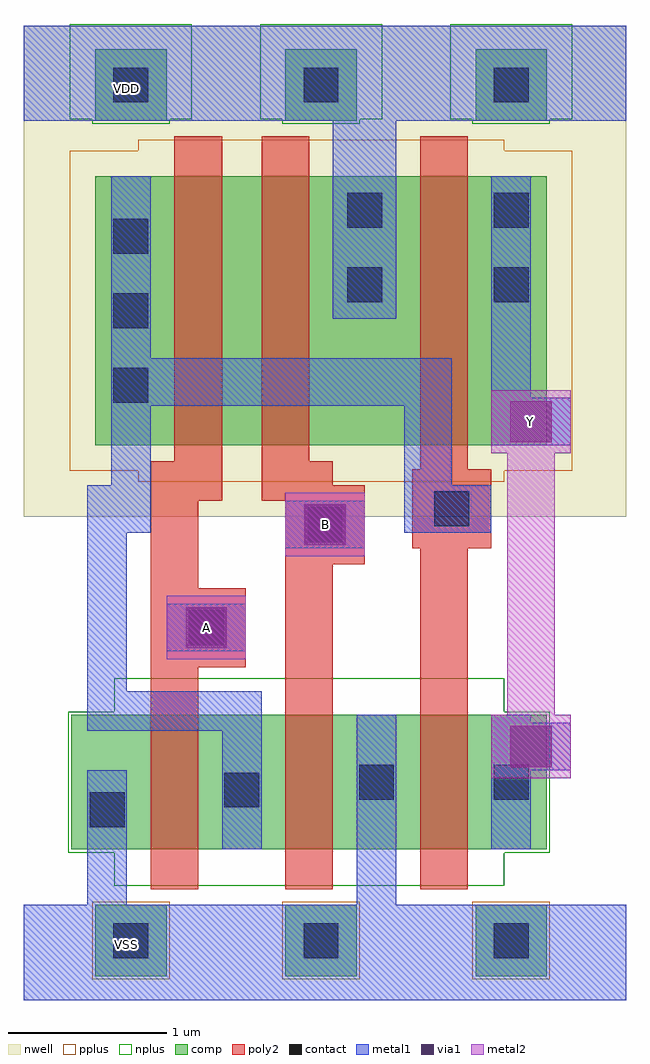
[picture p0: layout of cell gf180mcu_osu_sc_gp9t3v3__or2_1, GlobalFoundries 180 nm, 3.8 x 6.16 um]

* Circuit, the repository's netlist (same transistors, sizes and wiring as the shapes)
* Copyright 2022 Google LLC
*
* Licensed under the Apache License, Version 2.0 (the "License");
* you may not use this file except in compliance with the License.
* You may obtain a copy of the License at
*
*      http://www.apache.org/licenses/LICENSE-2.0
*
* Unless required by applicable law or agreed to in writing, software
* distributed under the License is distributed on an "AS IS" BASIS,
* WITHOUT WARRANTIES OR CONDITIONS OF ANY KIND, either express or implied.
* See the License for the specific language governing permissions and
* limitations under the License.

.inc "/import/yukari1/lrburle/OSU_180/char/techfiles/design.hspice"
.lib "/import/yukari1/lrburle/OSU_180/char/techfiles/sm141064.hspice" typical

.GLOBAL VDD
.GLOBAL VSS

.option scale=0.05u

.subckt gf180mcu_osu_sc_gp9t3v3__or2_1 B A Y
X0 VDD B a_25_70 VDD pmos_3p3 w=34 l=6
X1 Y a_9_70 VSS VSS nmos_3p3 w=17 l=6
X2 a_9_70 A VSS VSS nmos_3p3 w=17 l=6
X3 a_25_70 A a_9_70 VDD pmos_3p3 w=34 l=6
X4 Y a_9_70 VDD VDD pmos_3p3 w=34 l=6
X5 VSS B a_9_70 VSS nmos_3p3 w=17 l=6
.ends

** hspice subcircuit dictionary

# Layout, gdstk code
import gdstk
lib = gdstk.Library(unit=1e-6, precision=1e-09)
def R(c, l, rs):  # rectangles x0, y0, x1, y1
    for r in rs: c.add(gdstk.rectangle(r[:2], r[2:], *l))
def A(c, l, x, y, w, h, nx, ny, dx, dy):  # array of equal rectangles
    R(c, l, [(x+i*dx, y+j*dy, x+i*dx+w, y+j*dy+h) for i in range(nx) for j in range(ny)])
nwell = (21, 0)
comp = (22, 0)
poly2 = (30, 0)
pplus = (31, 0)
nplus = (32, 0)
contact = (33, 0)
metal1 = (34, 0)
via1 = (35, 0)
metal2 = (36, 0)

gf180mcu_osu_sc_gp9t3v3_ = lib.new_cell('gf180mcu_osu_sc_gp9t3v3__or2_1')
R(gf180mcu_osu_sc_gp9t3v3_, nwell, [(0,3.05,3.8,6.15)])
A(gf180mcu_osu_sc_gp9t3v3_, comp, 0.45, 0.15, 0.45, 0.45, 3, 2, 1.2, 5.4)
R(gf180mcu_osu_sc_gp9t3v3_, comp, [(0.3,0.95,3.3,1.8), (0.45,3.5,3.3,5.2)])
R(gf180mcu_osu_sc_gp9t3v3_, poly2, [(0.8,0.7,1.1,2.1), (1.65,0.7,1.95,2.75), (2.5,0.7,2.8,2.85), (0.8,2.1,1.4,2.6), (0.8,2.6,1.1,3.15), (1.65,2.75,2.15,3.15), (2.45,2.85,2.95,3.35), (0.8,3.15,1.25,3.4), (1.5,3.15,2.15,3.25), (1.5,3.25,1.95,3.4), (2.5,3.35,2.8,5.45), (0.95,3.4,1.25,5.45), (1.5,3.4,1.8,5.45)])
A(gf180mcu_osu_sc_gp9t3v3_, pplus, 0.43, 0.13, 0.49, 0.49, 3, 1, 1.2, 0)
R(gf180mcu_osu_sc_gp9t3v3_, pplus, [(0.72,3.27,3.03,3.34), (0.29,3.34,3.46,5.36), (0.72,5.36,3.03,5.43)])
A(gf180mcu_osu_sc_gp9t3v3_, nplus, 0.43, 5.53, 0.49, 0.03, 3, 1, 1.2, 0)
A(gf180mcu_osu_sc_gp9t3v3_, nplus, 0.29, 5.56, 0.77, 0.6, 3, 1, 1.2, 0)
R(gf180mcu_osu_sc_gp9t3v3_, nplus, [(0.57,0.72,3.03,0.93), (0.28,0.93,3.32,1.82), (0.57,1.82,3.03,2.03)])
A(gf180mcu_osu_sc_gp9t3v3_, contact, 0.565, 0.265, 0.22, 0.22, 3, 2, 1.2, 5.4)
A(gf180mcu_osu_sc_gp9t3v3_, contact, 0.565, 3.77, 0.22, 0.22, 1, 3, 0, 0.47)
R(gf180mcu_osu_sc_gp9t3v3_, contact, [(0.415,1.09,0.635,1.31), (1.265,1.215,1.485,1.435), (2.115,1.265,2.335,1.485), (2.965,1.265,3.185,1.485), (1.04,2.24,1.26,2.46), (1.79,2.89,2.01,3.11), (2.59,2.99,2.81,3.21), (2.04,4.405,2.26,4.625), (2.965,4.405,3.185,4.625), (2.04,4.875,2.26,5.095), (2.965,4.875,3.185,5.095)])
R(gf180mcu_osu_sc_gp9t3v3_, metal1, [(0,0,3.8,0.6), (0.4,0.6,0.65,1.45), (2.1,0.6,2.35,1.8), (1.25,0.95,1.5,1.7), (2.95,0.95,3.2,1.45), (2.95,1.45,3.45,1.75), (0.4,1.7,1.5,1.95), (2.95,1.75,3.2,1.8), (0.4,1.95,0.65,2.95), (0.9,2.2,1.4,2.5), (1.65,2.85,2.15,3.15), (0.4,2.95,0.8,3.25), (2.4,2.95,2.95,3.25), (0.55,3.25,0.8,3.75), (2.4,3.25,2.7,3.75), (2.95,3.5,3.45,3.8), (0.55,3.75,2.7,4.05), (2.95,3.8,3.2,5.2), (0.55,4.05,0.8,5.2), (1.95,4.3,2.35,5.55), (0,5.55,3.8,6.15)])
R(gf180mcu_osu_sc_gp9t3v3_, via1, [(3.07,1.47,3.33,1.73), (1.02,2.22,1.28,2.48), (1.77,2.87,2.03,3.13), (3.07,3.52,3.33,3.78)])
R(gf180mcu_osu_sc_gp9t3v3_, metal2, [(2.95,1.4,3.45,1.8), (3.05,1.8,3.35,3.45), (0.9,2.15,1.4,2.55), (1.65,2.8,2.15,3.2), (2.95,3.45,3.45,3.85)])
gf180mcu_osu_sc_gp9t3v3_.add(gdstk.Label('VDD', (0.65,5.75), layer=34, texttype=0))
gf180mcu_osu_sc_gp9t3v3_.add(gdstk.Label('VSS', (0.65,0.35), layer=34, texttype=0))
gf180mcu_osu_sc_gp9t3v3_.add(gdstk.Label('B', (1.9,3), layer=36, texttype=10))
gf180mcu_osu_sc_gp9t3v3_.add(gdstk.Label('A', (1.15,2.35), layer=36, texttype=10))
gf180mcu_osu_sc_gp9t3v3_.add(gdstk.Label('Y', (3.2,3.65), layer=36, texttype=10))

lib.write_gds('gf180mcu_osu_sc_gp9t3v3__or2_1.gds')
